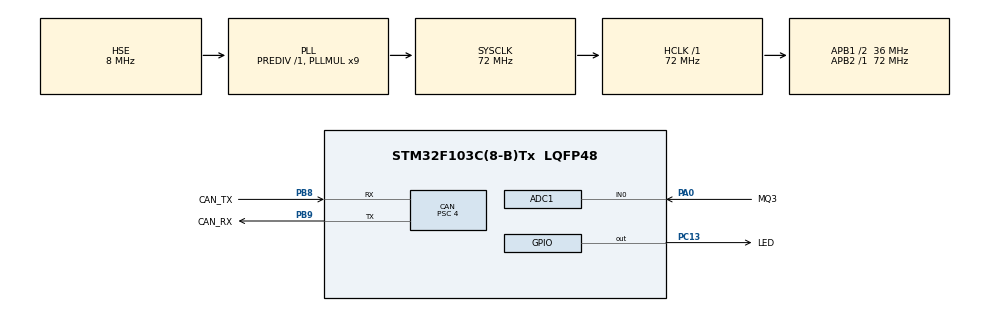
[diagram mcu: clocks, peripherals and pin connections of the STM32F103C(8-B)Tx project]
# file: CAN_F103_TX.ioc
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ADC1.Channel-0\#ChannelRegularConversion=ADC_CHANNEL_0
ADC1.NbrOfConversionFlag=1
ADC1.Rank-0\#ChannelRegularConversion=1
ADC1.SamplingTime-0\#ChannelRegularConversion=ADC_SAMPLETIME_1CYCLE_5
ADC1.master=1
CAN.BS1=CAN_BS1_15TQ
CAN.BS2=CAN_BS2_2TQ
CAN.CalculateBaudRate=500000
CAN.CalculateTimeBit=2000
CAN.CalculateTimeQuantum=111.11111111111111
CAN.Mode=CAN_MODE_LOOPBACK
CAN.Prescaler=4
Mcu.Family=STM32F1
Mcu.Name=STM32F103C(8-B)Tx
Mcu.Package=LQFP48
NVIC.ADC1_2_IRQn=true\:0\:0\:false\:false\:true\:true\:true\:true
NVIC.PriorityGroup=NVIC_PRIORITYGROUP_4
NVIC.RCC_IRQn=true\:0\:0\:false\:false\:true\:true\:false\:true
PA0-WKUP.GPIO_Label=MQ3
PA0-WKUP.Signal=ADCx_IN0
PA13.Mode=Serial_Wire
PA13.Signal=SYS_JTMS-SWDIO
PA14.Mode=Serial_Wire
PA14.Signal=SYS_JTCK-SWCLK
PB8.GPIO_Label=CAN_TX
PB8.Mode=CAN_Activate
PB8.Signal=CAN_RX
PB9.GPIO_Label=CAN_RX
PB9.Mode=CAN_Activate
PB9.Signal=CAN_TX
PC13-TAMPER-RTC.GPIO_Label=LED
PC13-TAMPER-RTC.Signal=GPIO_Output
PD0-OSC_IN.GPIO_Label=RCC_OSC_IN
PD0-OSC_IN.Mode=HSE-External-Oscillator
PD0-OSC_IN.Signal=RCC_OSC_IN
PD1-OSC_OUT.GPIO_Label=RCC_OSC_OUT
PD1-OSC_OUT.Mode=HSE-External-Oscillator
PD1-OSC_OUT.Signal=RCC_OSC_OUT
ProjectManager.HeapSize=0x200
ProjectManager.StackSize=0x400
ProjectManager.TargetToolchain=STM32CubeIDE
RCC.ADCPresc=RCC_ADCPCLK2_DIV6
RCC.AHBFreq_Value=72000000
RCC.APB1CLKDivider=RCC_HCLK_DIV2
RCC.APB1Freq_Value=36000000
RCC.APB1TimFreq_Value=72000000
RCC.APB2Freq_Value=72000000
RCC.APB2TimFreq_Value=72000000
RCC.HCLKFreq_Value=72000000
RCC.PLLMUL=RCC_PLL_MUL9
RCC.PLLSourceVirtual=RCC_PLLSOURCE_HSE
RCC.SYSCLKFreq_VALUE=72000000
RCC.SYSCLKSource=RCC_SYSCLKSOURCE_PLLCLK
RCC.USBFreq_Value=72000000
SH.ADCx_IN0.0=ADC1_IN0,IN0
board=custom

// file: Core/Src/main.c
/* USER CODE BEGIN Header */
/**
  ******************************************************************************
  * @file           : main.c
  * @brief          : Main program body
  ******************************************************************************
  * @attention
  *
  * Copyright (c) 2026 STMicroelectronics.
  * All rights reserved.
  *
  * This software is licensed under terms that can be found in the LICENSE file
  * in the root directory of this software component.
  * If no LICENSE file comes with this software, it is provided AS-IS.
  *
  ******************************************************************************
  */
/* USER CODE END Header */
#include "main.h"

ADC_HandleTypeDef hadc1;

CAN_HandleTypeDef hcan;

/* USER CODE BEGIN PV */
CAN_TxHeaderTypeDef txHeader;
CAN_RxHeaderTypeDef rxHeader;
uint32_t txMailbox;
uint8_t rxData[8];
uint16_t adcValue = 0;

/* USER CODE END PV */

void SystemClock_Config(void);
static void MX_GPIO_Init(void);
static void MX_CAN_Init(void);
static void MX_ADC1_Init(void);
/* USER CODE BEGIN PFP */
uint16_t ADC_ReadMQ3(void);
uint8_t CAN_LoopbackTest(uint16_t adcData);
/* USER CODE END PFP */

int main(void)
{

  /* MCU Configuration--------------------------------------------------------*/

  /* Reset of all peripherals, Initializes the Flash interface and the Systick. */
  HAL_Init();

  /* Configure the system clock */
  SystemClock_Config();

  /* Initialize all configured peripherals */
  MX_GPIO_Init();
  MX_CAN_Init();
  MX_ADC1_Init();
  /* USER CODE BEGIN 2 */

	HAL_ADCEx_Calibration_Start(&hadc1);
	HAL_CAN_Start(&hcan);
	for (int i = 0; i < 10; i++) {
		HAL_GPIO_TogglePin(GPIOC, GPIO_PIN_13);
		HAL_Delay(300);
	}
  /* USER CODE END 2 */

  /* Infinite loop */
  while (1)
  {

    /* USER CODE BEGIN 3 */
	  adcValue = ADC_ReadMQ3();

	        if (CAN_LoopbackTest(adcValue)) {
	            HAL_GPIO_WritePin(GPIOC, GPIO_PIN_13, GPIO_PIN_SET);  // LED sáng = OK
	        } else {
	            HAL_GPIO_WritePin(GPIOC, GPIO_PIN_13, GPIO_PIN_RESET);    // LED tắt = lỗi
	        }

	        HAL_Delay(500);
  }
  /* USER CODE END 3 */
}

void SystemClock_Config(void)
{
  RCC_OscInitTypeDef RCC_OscInitStruct = {0};
  RCC_ClkInitTypeDef RCC_ClkInitStruct = {0};
  RCC_PeriphCLKInitTypeDef PeriphClkInit = {0};

  /** Initializes the RCC Oscillators according to the specified parameters
  * in the RCC_OscInitTypeDef structure.
  */
  RCC_OscInitStruct.OscillatorType = RCC_OSCILLATORTYPE_HSE;
  RCC_OscInitStruct.HSEState = RCC_HSE_ON;
  RCC_OscInitStruct.HSEPredivValue = RCC_HSE_PREDIV_DIV1;
  RCC_OscInitStruct.HSIState = RCC_HSI_ON;
  RCC_OscInitStruct.PLL.PLLState = RCC_PLL_ON;
  RCC_OscInitStruct.PLL.PLLSource = RCC_PLLSOURCE_HSE;
  RCC_OscInitStruct.PLL.PLLMUL = RCC_PLL_MUL9;
  if (HAL_RCC_OscConfig(&RCC_OscInitStruct) != HAL_OK)
  {
    Error_Handler();
  }

  /** Initializes the CPU, AHB and APB buses clocks
  */
  RCC_ClkInitStruct.ClockType = RCC_CLOCKTYPE_HCLK|RCC_CLOCKTYPE_SYSCLK
                              |RCC_CLOCKTYPE_PCLK1|RCC_CLOCKTYPE_PCLK2;
  RCC_ClkInitStruct.SYSCLKSource = RCC_SYSCLKSOURCE_PLLCLK;
  RCC_ClkInitStruct.AHBCLKDivider = RCC_SYSCLK_DIV1;
  RCC_ClkInitStruct.APB1CLKDivider = RCC_HCLK_DIV2;
  RCC_ClkInitStruct.APB2CLKDivider = RCC_HCLK_DIV1;

  if (HAL_RCC_ClockConfig(&RCC_ClkInitStruct, FLASH_LATENCY_2) != HAL_OK)
  {
    Error_Handler();
  }
  PeriphClkInit.PeriphClockSelection = RCC_PERIPHCLK_ADC;
  PeriphClkInit.AdcClockSelection = RCC_ADCPCLK2_DIV6;
  if (HAL_RCCEx_PeriphCLKConfig(&PeriphClkInit) != HAL_OK)
  {
    Error_Handler();
  }
}

static void MX_ADC1_Init(void)
{

  ADC_ChannelConfTypeDef sConfig = {0};

  /** Common config
  */
  hadc1.Instance = ADC1;
  hadc1.Init.ScanConvMode = ADC_SCAN_DISABLE;
  hadc1.Init.ContinuousConvMode = DISABLE;
  hadc1.Init.DiscontinuousConvMode = DISABLE;
  hadc1.Init.ExternalTrigConv = ADC_SOFTWARE_START;
  hadc1.Init.DataAlign = ADC_DATAALIGN_RIGHT;
  hadc1.Init.NbrOfConversion = 1;
  if (HAL_ADC_Init(&hadc1) != HAL_OK)
  {
    Error_Handler();
  }

  /** Configure Regular Channel
  */
  sConfig.Channel = ADC_CHANNEL_0;
  sConfig.Rank = ADC_REGULAR_RANK_1;
  sConfig.SamplingTime = ADC_SAMPLETIME_1CYCLE_5;
  if (HAL_ADC_ConfigChannel(&hadc1, &sConfig) != HAL_OK)
  {
    Error_Handler();
  }

}

static void MX_CAN_Init(void)
{

  hcan.Instance = CAN1;
  hcan.Init.Prescaler = 4;
  hcan.Init.Mode = CAN_MODE_LOOPBACK;
  hcan.Init.SyncJumpWidth = CAN_SJW_1TQ;
  hcan.Init.TimeSeg1 = CAN_BS1_15TQ;
  hcan.Init.TimeSeg2 = CAN_BS2_2TQ;
  hcan.Init.TimeTriggeredMode = DISABLE;
  hcan.Init.AutoBusOff = DISABLE;
  hcan.Init.AutoWakeUp = DISABLE;
  hcan.Init.AutoRetransmission = DISABLE;
  hcan.Init.ReceiveFifoLocked = DISABLE;
  hcan.Init.TransmitFifoPriority = DISABLE;
  if (HAL_CAN_Init(&hcan) != HAL_OK)
  {
    Error_Handler();
  }

}

static void MX_GPIO_Init(void)
{
  GPIO_InitTypeDef GPIO_InitStruct = {0};

  /* GPIO Ports Clock Enable */
  __HAL_RCC_GPIOC_CLK_ENABLE();
  __HAL_RCC_GPIOD_CLK_ENABLE();
  __HAL_RCC_GPIOA_CLK_ENABLE();
  __HAL_RCC_GPIOB_CLK_ENABLE();

  /*Configure GPIO pin Output Level */
  HAL_GPIO_WritePin(LED_GPIO_Port, LED_Pin, GPIO_PIN_RESET);

  /*Configure GPIO pin : LED_Pin */
  GPIO_InitStruct.Pin = LED_Pin;
  GPIO_InitStruct.Mode = GPIO_MODE_OUTPUT_PP;
  GPIO_InitStruct.Pull = GPIO_NOPULL;
  GPIO_InitStruct.Speed = GPIO_SPEED_FREQ_LOW;
  HAL_GPIO_Init(LED_GPIO_Port, &GPIO_InitStruct);

}

/* USER CODE BEGIN 4 */
/**
  * @brief Đọc ADC MQ3 với lọc trung bình 10 mẫu
  */
uint16_t ADC_ReadMQ3(void)
{
    uint32_t sum = 0;
    const int samples = 10;

    for (int i = 0; i < samples; i++) {
        HAL_ADC_Start(&hadc1);
        if (HAL_ADC_PollForConversion(&hadc1, 10) == HAL_OK) {
            sum += HAL_ADC_GetValue(&hadc1);
        }
        HAL_ADC_Stop(&hadc1);
    }
    return (uint16_t)(sum / samples);
}

/**
  * @brief Gửi + nhận loopback, trả về 1 nếu dữ liệu khớp
  */
uint8_t CAN_LoopbackTest(uint16_t adcData)
{
    uint8_t txData[2];
    txData[0] = adcData >> 8;
    txData[1] = adcData & 0xFF;

    txHeader.StdId = 0x101;
    txHeader.IDE = CAN_ID_STD;
    txHeader.RTR = CAN_RTR_DATA;
    txHeader.DLC = 2;

    if (HAL_CAN_AddTxMessage(&hcan, &txHeader, txData, &txMailbox) != HAL_OK) {
        return 0;
    }

    uint32_t tickstart = HAL_GetTick();
    while (HAL_CAN_GetRxFifoFillLevel(&hcan, CAN_RX_FIFO0) == 0) {
        if ((HAL_GetTick() - tickstart) > 100) {
            return 0;   // timeout
        }
    }

    if (HAL_CAN_GetRxMessage(&hcan, CAN_RX_FIFO0, &rxHeader, rxData) != HAL_OK) {
        return 0;
    }

    if (rxHeader.StdId == 0x101 &&
        rxData[0] == txData[0] &&
        rxData[1] == txData[1]) {
        return 1;
    }
    return 0;
}
/* USER CODE END 4 */

void Error_Handler(void)
{
  /* USER CODE BEGIN Error_Handler_Debug */
  /* User can add his own implementation to report the HAL error return state */
  __disable_irq();
  while (1)
  {
	  HAL_GPIO_TogglePin(GPIOC, GPIO_PIN_13);
	      for (volatile int i = 0; i < 200000; i++);
  }
  /* USER CODE END Error_Handler_Debug */
}
